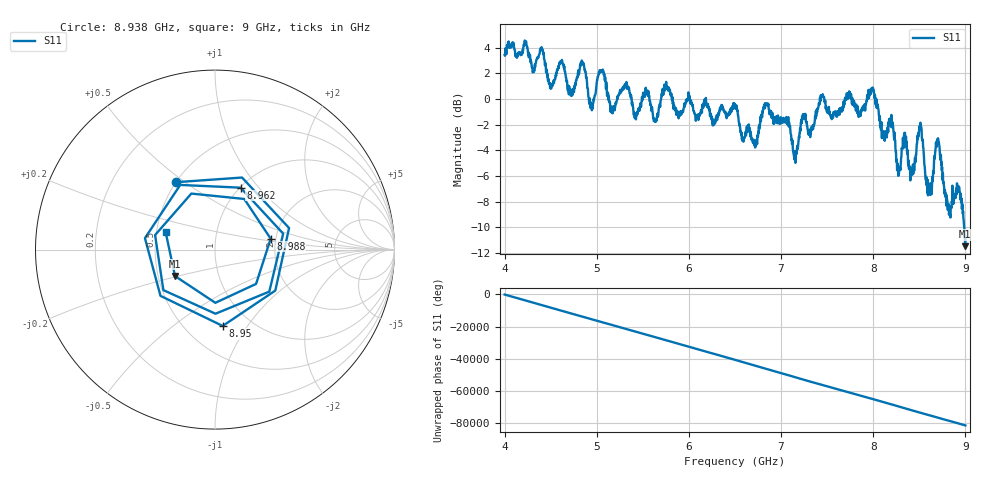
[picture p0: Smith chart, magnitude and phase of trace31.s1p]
! Created with skrf 1.8.0 (http://scikit-rf.org).
# Hz S RI R 50.0
!freq ReS11 ImS11
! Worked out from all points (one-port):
!   1601 points, 4 GHz to 9 GHz, reference 50 ohm
!   lowest |S11| = -11.5 dB at 8.997 GHz (marker M1), VSWR 1.73, Z = 30.6 - j9.71 ohm
!   |S11| at or under -10 dB: 8.987946 GHz to end of sweep
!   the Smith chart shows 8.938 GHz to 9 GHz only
!   S11 on the Smith chart (normalised r, x): 8.938 GHz: 0.50, +0.46; 8.95 GHz: 0.75, -0.78; 8.962 GHz: 1.01, +0.81; 8.988 GHz: 1.88, +0.25; 9 GHz: 0.56, +0.12
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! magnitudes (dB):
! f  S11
! 4 GHz  3.4
! 4.625 GHz  2.9
! 4.731 GHz  0.3
! 4.853 GHz  2.7
! 4.938 GHz  -0.5
! 5.047 GHz  2.2
! 5.169 GHz  -1.0
! 5.25 GHz  0.5
! 5.875 GHz  -1.2
! 6.5 GHz  -0.4
! 6.584 GHz  -3.2
! 6.838 GHz  -0.5
! 7.125 GHz  -3.4
! 7.75 GHz  0.4
! 7.994 GHz  0.9
! 8.275 GHz  -5.3
! 8.375 GHz  -4.3
! 8.425 GHz  -5.4
! 8.512 GHz  -1.8
! 8.609 GHz  -7.1
! 8.697 GHz  -3.1
! 8.812 GHz  -8.4
! 8.938 GHz  -7.2
! 8.95 GHz  -7.4
! 8.962 GHz  -8.6
! 8.988 GHz  -10.0
! 8.997 GHz  -11.5
! 9 GHz  -10.7
